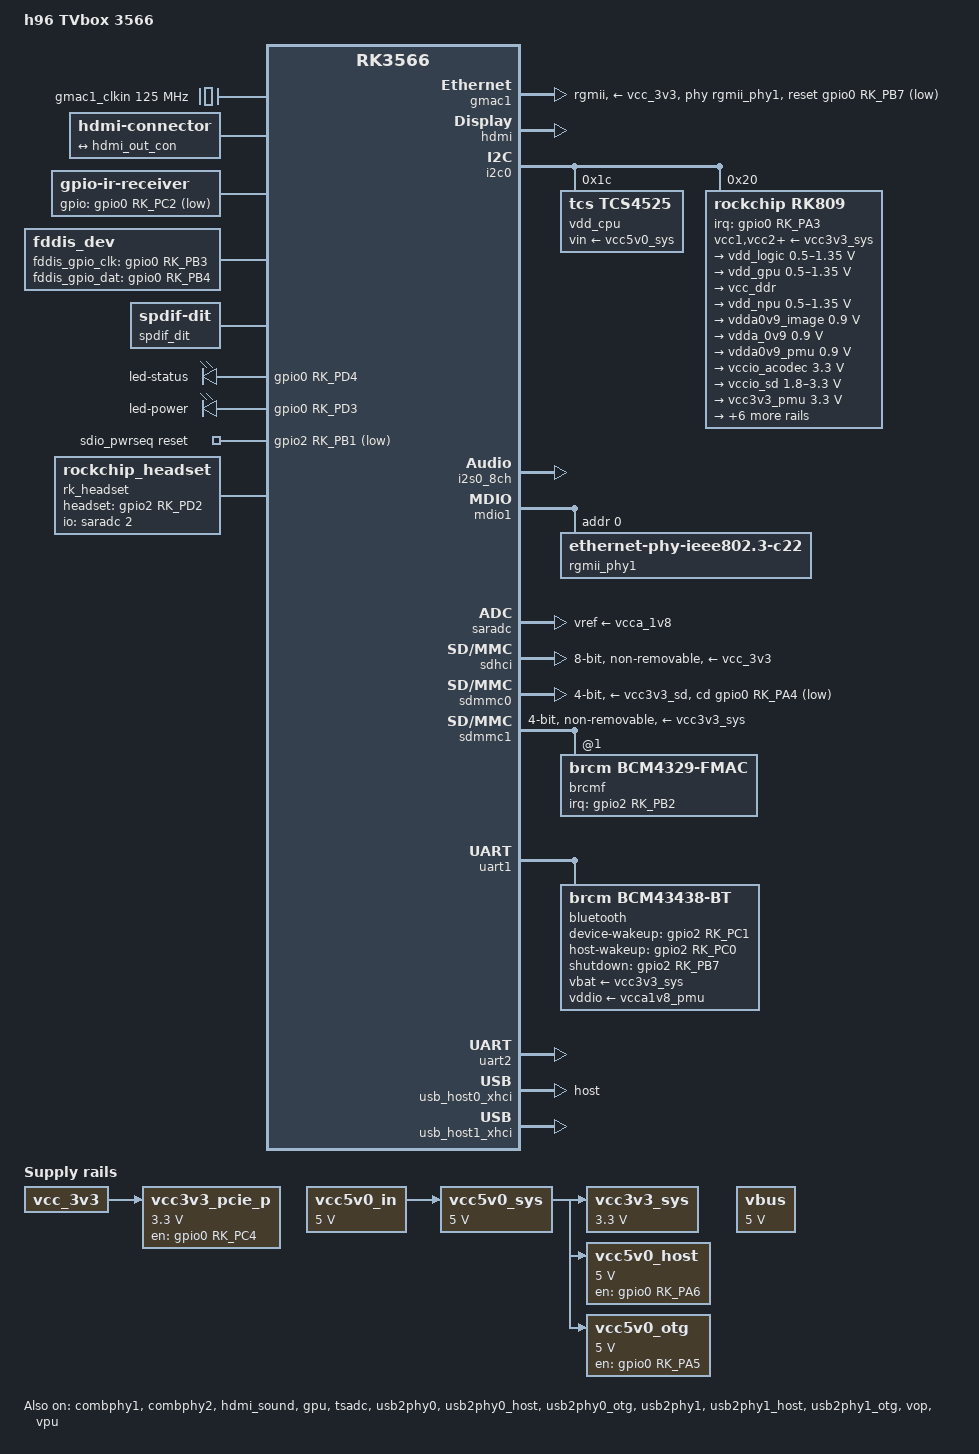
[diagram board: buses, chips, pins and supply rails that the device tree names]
// SPDX-License-Identifier: (GPL-2.0+ OR MIT)
/*
 * Copyright (c) 2024 hqnicolas <hqnicolas@msn.com>
 */

/dts-v1/;

#include <dt-bindings/gpio/gpio.h>
#include <dt-bindings/input/input.h>
#include <dt-bindings/pinctrl/rockchip.h>
#include <dt-bindings/soc/rockchip,vop2.h>
#include "rk3566.dtsi"

/ {
	model = "h96 TVbox 3566";
	compatible = "h96-TVbox,rk3566", "rockchip,rk3566";

	aliases {
		ethernet0 = &gmac1;
		mmc0 = &sdmmc0;
		mmc1 = &sdhci;
		mmc2 = &sdmmc1;
	};

	chosen: chosen {
		stdout-path = "serial2:1500000n8";
	};

	vcc5v0_in: vcc5v0_in {
		compatible = "regulator-fixed";
		regulator-name = "vcc5v0_in";
		regulator-always-on;
		regulator-boot-on;
		regulator-min-microvolt = <5000000>;
		regulator-max-microvolt = <5000000>;
	};

	gmac1_clkin: external-gmac1-clock {
		compatible = "fixed-clock";
		clock-frequency = <125000000>;
		clock-output-names = "gmac1_clkin";
		#clock-cells = <0>;
	};

	hdmi-con {
		compatible = "hdmi-connector";
		type = "a";

		port {
			hdmi_con_in: endpoint {
				remote-endpoint = <&hdmi_out_con>;
			};
		};
	};

	ir-receiver {
		compatible = "gpio-ir-receiver";
		gpios = <&gpio0 RK_PC2 GPIO_ACTIVE_LOW>;
		pinctrl-names = "default";
		pinctrl-0 = <&ir_receiver_pin>;
		linux,rc-map-name = "rc-h96-max-v56";
	};
	
	fddis_dev {
		compatible = "fddis_dev";
		fddis_gpio_clk = <&gpio0 RK_PB3 GPIO_ACTIVE_HIGH>;
		fddis_gpio_dat = <&gpio0 RK_PB4 GPIO_ACTIVE_HIGH>;
		pinctrl-0 = <&dis_ctl_clk &dis_ctl_dat>;
		status = "okay";
	};

	spdif_dit: spdif-dit {
		compatible = "linux,spdif-dit";
		#sound-dai-cells = <0>;
	};

	spdif_sound: spdif-sound {
		compatible = "simple-audio-card";
		simple-audio-card,name = "SPDIF";

		simple-audio-card,cpu {
			sound-dai = <&spdif>;
		};

		simple-audio-card,codec {
			sound-dai = <&spdif_dit>;
		};
	};

	vcc3v3_sys: vcc3v3-sys {
		compatible = "regulator-fixed";
		regulator-name = "vcc3v3_sys";
		regulator-always-on;
		regulator-boot-on;
		regulator-min-microvolt = <3300000>;
		regulator-max-microvolt = <3300000>;
		vin-supply = <&vcc5v0_sys>;
	};
	
	vcc5v0_sys: vcc5v0_sys {
		compatible = "regulator-fixed";
		regulator-name = "vcc5v0_sys";
		regulator-always-on;
		regulator-boot-on;
		regulator-min-microvolt = <5000000>;
		regulator-max-microvolt = <5000000>;
		vin-supply = <&vcc5v0_in>;
	};

	vcc5v0_host: vcc5v0-host-regulator {
		compatible = "regulator-fixed";
		regulator-name = "vcc5v0_host";
		enable-active-high;
		gpio = <&gpio0 RK_PA6 GPIO_ACTIVE_HIGH>;
		pinctrl-names = "default";
		pinctrl-0 = <&vcc5v0_host_en>;
		regulator-always-on;
		regulator-min-microvolt = <5000000>;
		regulator-max-microvolt = <5000000>;
		vin-supply = <&vcc5v0_sys>;
	};

	vcc5v0_otg: vcc5v0-otg-regulator {
		compatible = "regulator-fixed";
		regulator-name = "vcc5v0_otg";
		enable-active-high;
		gpio = <&gpio0 RK_PA5 GPIO_ACTIVE_HIGH>;
		pinctrl-names = "default";
		pinctrl-0 = <&vcc5v0_otg_en>;
		regulator-always-on;
		regulator-min-microvolt = <5000000>;
		regulator-max-microvolt = <5000000>;
		vin-supply = <&vcc5v0_sys>;
	};

	vcc3v3_pcie_p: vcc3v3-pcie-p-regulator {
		compatible = "regulator-fixed";
		enable-active-high;
		gpio = <&gpio0 RK_PC4 GPIO_ACTIVE_HIGH>;
		pinctrl-names = "default";
		pinctrl-0 = <&pcie_enable_h>;
		regulator-name = "vcc3v3_pcie_p";
		regulator-min-microvolt = <3300000>;
		regulator-max-microvolt = <3300000>;
		vin-supply = <&vcc_3v3>;
	};

	leds {
		compatible = "gpio-leds";

		led_status: led-status {
			label = "led-status";
			gpios = <&gpio0 RK_PD4 GPIO_ACTIVE_HIGH>;
			linux,default-trigger = "heartbeat";
			pinctrl-names = "default";
			pinctrl-0 = <&led_status_enable_h>;
		};

		led_power: led-power {
			label = "led-power";
			gpios = <&gpio0 RK_PD3 GPIO_ACTIVE_HIGH>;
			linux,default-trigger = "default-on";
			pinctrl-names = "default";
			pinctrl-0 = <&led_power_enable_h>;
		};	
	};

	vbus: vbus-regulator {
		compatible = "regulator-fixed";
		regulator-name = "vbus";
		regulator-always-on;
		regulator-boot-on;
		regulator-min-microvolt = <5000000>;
		regulator-max-microvolt = <5000000>;
	};

	sdio_pwrseq: sdio-pwrseq {
		status = "okay";
		compatible = "mmc-pwrseq-simple";
		clocks = <&rk809 1>;
		clock-names = "ext_clock";
		pinctrl-names = "default";
		pinctrl-0 = <&wifi_enable_h>;
		reset-gpios = <&gpio2 RK_PB1 GPIO_ACTIVE_LOW>;
		post-power-on-delay-ms = <100>;
	};

	rk809_sound: rk809-sound {
		status = "okay";
		compatible = "simple-audio-card";
		simple-audio-card,format = "i2s";
		simple-audio-card,name = "rockchip,rk809-codec";
		simple-audio-card,mclk-fs = <256>;

		simple-audio-card,cpu {
			sound-dai = <&i2s1_8ch>;
		};
		simple-audio-card,codec {
			sound-dai = <&rk809_codec>;
		};
	};

	rk_headset: rk-headset {
		compatible = "rockchip_headset";
		headset_gpio = <&gpio2 RK_PD2 GPIO_ACTIVE_HIGH>;
		pinctrl-names = "default";
		pinctrl-0 = <&hp_det>;
		io-channels = <&saradc 2>;    //HP_HOOK pin
	};
};

&combphy1 {
	status = "okay";
};

&combphy2 {
	status = "okay";
};

&cpu0 {
	cpu-supply = <&vdd_cpu>;
};

&cpu1 {
	cpu-supply = <&vdd_cpu>;
};

&cpu2 {
	cpu-supply = <&vdd_cpu>;
};

&cpu3 {
	cpu-supply = <&vdd_cpu>;
};

&gmac1 {
	assigned-clocks = <&cru SCLK_GMAC1_RX_TX>, <&cru SCLK_GMAC1_RGMII_SPEED>, <&cru SCLK_GMAC1>;
	assigned-clock-parents = <&cru SCLK_GMAC1_RGMII_SPEED>, <&cru SCLK_GMAC1>, <&gmac1_clkin>;
	clock_in_out = "input";
	phy-supply = <&vcc_3v3>;
	phy-mode = "rgmii";
	pinctrl-names = "default";
	pinctrl-0 = <&gmac1m0_miim
		     &gmac1m0_tx_bus2
		     &gmac1m0_rx_bus2
		     &gmac1m0_rgmii_clk
		     &gmac1m0_clkinout
		     &gmac1m0_rgmii_bus>;
	snps,reset-gpio = <&gpio0 RK_PB7 GPIO_ACTIVE_LOW>;
	snps,reset-active-low;
	/* Reset time is 20ms, 100ms for rtl8211f, also works well here */
	snps,reset-delays-us = <0 20000 100000>;
	tx_delay = <0x41>;
	rx_delay = <0x2e>;
	phy-handle = <&rgmii_phy1>;
	status = "okay";
};

&hdmi {
	assigned-clocks = <&cru CLK_HDMI_CEC>;
	assigned-clock-rates = <32768>;
	avdd-0v9-supply = <&vdda0v9_image>;
	avdd-1v8-supply = <&vcca1v8_image>;
	status = "okay";
};

&hdmi_in {
	hdmi_in_vp0: endpoint {
		remote-endpoint = <&vp0_out_hdmi>;
	};
};

&hdmi_out {
	hdmi_out_con: endpoint {
		remote-endpoint = <&hdmi_con_in>;
	};
};

&hdmi_sound {
	status = "okay";
};

&gpu {
	mali-supply = <&vdd_gpu>;
	status = "okay";
};

&i2c0 {
	status = "okay";

	vdd_cpu: regulator@1c {
		compatible = "tcs,tcs4525";
		reg = <0x1c>;
		fcs,suspend-voltage-selector = <1>;
		regulator-name = "vdd_cpu";
		regulator-min-microvolt = <800000>;
		regulator-max-microvolt = <1150000>;
		regulator-ramp-delay = <2300>;
		regulator-always-on;
		regulator-boot-on;
		vin-supply = <&vcc5v0_sys>;

		regulator-state-mem {
			regulator-off-in-suspend;
		};
	};

	rk809: pmic@20 {
		compatible = "rockchip,rk809";
		reg = <0x20>;
		interrupt-parent = <&gpio0>;
		interrupts = <RK_PA3 IRQ_TYPE_LEVEL_LOW>;
		#clock-cells = <1>;
		#sound-dai-cells = <0>;
		clock-output-names = "rk808-clkout1", "rk808-clkout2";
		pinctrl-names = "default";
		pinctrl-0 = <&pmic_int_l>;
		rockchip,system-power-controller;
		wakeup-source;

		vcc1-supply = <&vcc3v3_sys>;
		vcc2-supply = <&vcc3v3_sys>;
		vcc3-supply = <&vcc3v3_sys>;
		vcc4-supply = <&vcc3v3_sys>;
		vcc5-supply = <&vcc3v3_sys>;
		vcc6-supply = <&vcc3v3_sys>;
		vcc7-supply = <&vcc3v3_sys>;
		vcc8-supply = <&vcc3v3_sys>;
		vcc9-supply = <&vcc3v3_sys>;

		regulators {
			vdd_logic: DCDC_REG1 {
				regulator-name = "vdd_logic";
				regulator-always-on;
				regulator-boot-on;
				regulator-min-microvolt = <500000>;
				regulator-max-microvolt = <1350000>;
				regulator-init-microvolt = <900000>;
				regulator-ramp-delay = <6001>;
				regulator-initial-mode = <0x2>;
				regulator-state-mem {
					regulator-off-in-suspend;
				};
			};

			vdd_gpu: DCDC_REG2 {
				regulator-name = "vdd_gpu";
				regulator-always-on;
				regulator-boot-on;
				regulator-min-microvolt = <500000>;
				regulator-max-microvolt = <1350000>;
				regulator-init-microvolt = <900000>;
				regulator-ramp-delay = <6001>;
				regulator-initial-mode = <0x2>;
					regulator-state-mem {
					regulator-off-in-suspend;
				};
			};

			vcc_ddr: DCDC_REG3 {
				regulator-always-on;
				regulator-boot-on;
				regulator-initial-mode = <0x2>;
				regulator-name = "vcc_ddr";
				regulator-state-mem {
					regulator-on-in-suspend;
				};
			};

			vdd_npu: DCDC_REG4 {
				regulator-always-on;
				regulator-boot-on;
				regulator-min-microvolt = <500000>;
				regulator-max-microvolt = <1350000>;
				regulator-init-microvolt = <900000>;
				regulator-initial-mode = <0x2>;
				regulator-name = "vdd_npu";
				regulator-state-mem {
					regulator-off-in-suspend;
				};
			};

			vdda0v9_image: LDO_REG1 {
				regulator-always-on;
				regulator-boot-on;
				regulator-min-microvolt = <900000>;
				regulator-max-microvolt = <900000>;
				regulator-name = "vdda0v9_image";
				regulator-state-mem {
					regulator-off-in-suspend;
				};
			};

			vdda_0v9: LDO_REG2 {
				regulator-always-on;
				regulator-boot-on;
				regulator-min-microvolt = <900000>;
				regulator-max-microvolt = <900000>;
				regulator-name = "vdda_0v9";
				regulator-state-mem {
					regulator-off-in-suspend;
				};
			};

			vdda0v9_pmu: LDO_REG3 {
				regulator-always-on;
				regulator-boot-on;
				regulator-min-microvolt = <900000>;
				regulator-max-microvolt = <900000>;
				regulator-name = "vdda0v9_pmu";
				regulator-state-mem {
					regulator-on-in-suspend;
					regulator-suspend-microvolt = <900000>;
				};
			};

			vccio_acodec: LDO_REG4 {
				regulator-always-on;
				regulator-boot-on;
				regulator-min-microvolt = <3300000>;
				regulator-max-microvolt = <3300000>;
				regulator-name = "vccio_acodec";
				regulator-state-mem {
					regulator-off-in-suspend;
				};
			};

			vccio_sd: LDO_REG5 {
				regulator-name = "vccio_sd";
				regulator-always-on;
				regulator-boot-on;
				regulator-min-microvolt = <1800000>;
				regulator-max-microvolt = <3300000>;

				regulator-state-mem {
					regulator-off-in-suspend;
				};
			};

			vcc3v3_pmu: LDO_REG6 {
				regulator-name = "vcc3v3_pmu";
				regulator-always-on;
				regulator-boot-on;
				regulator-min-microvolt = <3300000>;
				regulator-max-microvolt = <3300000>;

				regulator-state-mem {
					regulator-on-in-suspend;
					regulator-suspend-microvolt = <3300000>;
				};
			};

			vcca_1v8: LDO_REG7 {
				regulator-name = "vcca_1v8";
				regulator-always-on;
				regulator-boot-on;
				regulator-min-microvolt = <1800000>;
				regulator-max-microvolt = <1800000>;

				regulator-state-mem {
					regulator-off-in-suspend;
				};
			};

			vcca1v8_pmu: LDO_REG8 {
				regulator-name = "vcca1v8_pmu";
				regulator-always-on;
				regulator-boot-on;
				regulator-min-microvolt = <1800000>;
				regulator-max-microvolt = <1800000>;

				regulator-state-mem {
					regulator-on-in-suspend;
					regulator-suspend-microvolt = <1800000>;
				};
			};

			vcca1v8_image: LDO_REG9 {
				regulator-name = "vcca1v8_image";
				regulator-min-microvolt = <1800000>;
				regulator-max-microvolt = <1800000>;

				regulator-state-mem {
					regulator-off-in-suspend;
				};
			};

			vcc_1v8: DCDC_REG5 {
				regulator-always-on;
				regulator-boot-on;
				regulator-min-microvolt = <1800000>;
				regulator-max-microvolt = <1800000>;
				regulator-name = "vcc_1v8";
				regulator-state-mem {
					regulator-off-in-suspend;
				};
			};

			vcc_3v3: SWITCH_REG1 {
				regulator-name = "vcc_3v3";
				regulator-always-on;
				regulator-boot-on;

				regulator-state-mem {
					regulator-off-in-suspend;
				};
			};

			vcc3v3_sd: SWITCH_REG2 {
				regulator-name = "vcc3v3_sd";
				regulator-always-on;
				regulator-boot-on;

				regulator-state-mem {
					regulator-off-in-suspend;
				};
			};
		};

		rk809_codec: codec {
			mic-in-differential;
		};
	};
};

&i2s0_8ch {
	status = "okay";
};

&i2s1_8ch {
	pinctrl-names = "default";
	pinctrl-0 = <&i2s1m0_sclktx
				 &i2s1m0_lrcktx
				 &i2s1m0_sdi0
				 &i2s1m0_sdo0>;
	rockchip,trcm-sync-tx-only;
};

&mdio1 {
	rgmii_phy1: ethernet-phy@0 {
		compatible = "ethernet-phy-ieee802.3-c22";
		reg = <0>;
		status = "okay";
	};
};

&pcie2x1 {
	pinctrl-names = "default";
	pinctrl-0 = <&pcie_reset_h>;
	reset-gpios = <&gpio1 RK_PB2 GPIO_ACTIVE_HIGH>;
	vpcie3v3-supply = <&vcc3v3_pcie_p>;
	status = "disabled";
};

&pinctrl {
	sdio-pwrseq {
		wifi_enable_h: wifi-enable-h {
			rockchip,pins = <2 RK_PB1 RK_FUNC_GPIO &pcfg_pull_none>;
		};
	};

	wireless-wlan {
		wifi_host_wake_irq: wifi-host-wake-irq {
			rockchip,pins = <2 RK_PB2 RK_FUNC_GPIO &pcfg_pull_none>;
		};
	};

	bt {
		bt_enable_h: bt-enable-h {
			rockchip,pins = <2 RK_PB7 RK_FUNC_GPIO &pcfg_pull_none>;
		};

		bt_host_wake_l: bt-host-wake-l {
			rockchip,pins = <2 RK_PC0 RK_FUNC_GPIO &pcfg_pull_none>;
		};

		bt_wake_l: bt-wake-l {
			rockchip,pins = <2 RK_PC1 RK_FUNC_GPIO &pcfg_pull_none>;
		};
	};

	pmic {
		pmic_int_l: pmic-int-l {
			rockchip,pins = <0 RK_PA3 RK_FUNC_GPIO &pcfg_pull_up>;
		};
	};
	
	usb {
		vcc5v0_host_en: vcc5v0-host-en {
			rockchip,pins = <0 RK_PA6 RK_FUNC_GPIO &pcfg_pull_none>;
       };

		vcc5v0_otg_en: vcc5v0-otg-en {
			rockchip,pins = <0 RK_PA5 RK_FUNC_GPIO &pcfg_pull_none>;
		};
	};

	pcie {
		pcie_enable_h: pcie-enable-h {
			rockchip,pins = <0 RK_PC4 RK_FUNC_GPIO &pcfg_pull_none>;
		};
		
		pcie_reset_h: pcie-reset-h {
			rockchip,pins = <1 RK_PB2 RK_FUNC_GPIO &pcfg_pull_none>;
		};
	};

	ir-receiver {
		ir_receiver_pin: ir-receiver-pin {
			rockchip,pins = <0 RK_PC2 RK_FUNC_GPIO &pcfg_pull_none>;
		};
	};

	leds {
		led_status_enable_h: led-status-enable-h {
			rockchip,pins = <0 RK_PD4 RK_FUNC_GPIO &pcfg_pull_none>;
		};

		led_power_enable_h: led_power_enable_h {
			rockchip,pins = <0 RK_PD3 RK_FUNC_GPIO &pcfg_pull_none>;
		};
	};

	headphone {
		hp_det: hp-det {
			rockchip,pins = <2 RK_PD2 RK_FUNC_GPIO &pcfg_pull_up>;
		};
	};
	
	fddis_ctr {
		dis_ctl_clk: dis-ctl-clk {
			rockchip,pins = <0 RK_PB3 RK_FUNC_GPIO &pcfg_pull_none>;
		};
		
		dis_ctl_dat: dis-ctl-dat {
			rockchip,pins = <0 RK_PB4 RK_FUNC_GPIO &pcfg_pull_none>;
		};
	};
};

&pmu_io_domains {
	pmuio1-supply = <&vcc3v3_pmu>;
	pmuio2-supply = <&vcc3v3_pmu>;
	vccio1-supply = <&vccio_acodec>;
	vccio2-supply = <&vcc_1v8>;
	vccio3-supply = <&vccio_sd>;
	vccio4-supply = <&vcc_1v8>;
	vccio5-supply = <&vcc_3v3>;
	vccio6-supply = <&vcc_1v8>;
	vccio7-supply = <&vcc_3v3>;
	status = "okay";
};

&saradc {
	vref-supply = <&vcca_1v8>;
	status = "okay";
};

&sata2 {
	status = "disabled";
};

&sdhci {
	bus-width = <8>;
	mmc-hs200-1_8v;
	non-removable;
	vmmc-supply = <&vcc_3v3>;
	vqmmc-supply = <&vcc_1v8>;
	status = "okay";
};

&sdmmc0 {
	bus-width = <4>;
	cap-sd-highspeed;
	cd-gpios = <&gpio0 RK_PA4 GPIO_ACTIVE_LOW>;
	disable-wp;
	pinctrl-names = "default";
	pinctrl-0 = <&sdmmc0_bus4 &sdmmc0_clk &sdmmc0_cmd &sdmmc0_det>;
	sd-uhs-sdr104;
	vmmc-supply = <&vcc3v3_sd>;
	vqmmc-supply = <&vccio_sd>;
	status = "okay";
};

&sdmmc1 {
	#address-cells = <1>;
	#size-cells = <0>;
	bus-width = <4>;
	cap-sd-highspeed;
	cap-sdio-irq;
	disable-wp;
	keep-power-in-suspend;
	mmc-pwrseq = <&sdio_pwrseq>;
	non-removable;
	pinctrl-names = "default";
	pinctrl-0 = <&sdmmc1_bus4 &sdmmc1_cmd &sdmmc1_clk>;
	sd-uhs-sdr50;
	supports-sdio;
	status = "okay";
	vmmc-supply = <&vcc3v3_sys>;
	vqmmc-supply = <&vcca1v8_pmu>;

	brcmf: wifi@1 {
		compatible = "brcm,bcm4329-fmac";
		reg = <1>;
		interrupt-parent = <&gpio2>;
		interrupts = <RK_PB2 IRQ_TYPE_LEVEL_HIGH>;
		interrupt-names = "host-wake";
		pinctrl-names = "default";
		pinctrl-0 = <&wifi_host_wake_irq>;
	};
};

&tsadc {
	status = "okay";
};

&uart1 {
	pinctrl-names = "default";
	dma-names = "tx", "rx";
	pinctrl-0 = <&uart1m0_xfer &uart1m0_ctsn &uart1m0_rtsn>;
	status = "okay";
	uart-has-rtscts;

	bluetooth {
		compatible = "brcm,bcm43438-bt";
		clocks = <&rk809 1>;
		clock-names = "lpo";
		device-wakeup-gpios = <&gpio2 RK_PC1 GPIO_ACTIVE_HIGH>;
		host-wakeup-gpios = <&gpio2 RK_PC0 GPIO_ACTIVE_HIGH>;
		shutdown-gpios = <&gpio2 RK_PB7 GPIO_ACTIVE_HIGH>;
		max-speed = <3000000>;
		pinctrl-names = "default";
		pinctrl-0 = <&bt_host_wake_l &bt_wake_l &bt_enable_h>;
		vbat-supply = <&vcc3v3_sys>;
		vddio-supply = <&vcca1v8_pmu>;
	};
};

&uart2 {
	status = "okay";
};

&usb_host0_xhci {
	dr_mode = "host";
	status = "okay";
};

&usb2phy0 {
	status = "okay";
};

&usb2phy0_host {
	status = "okay";
};

&usb2phy0_otg {
	status = "okay";
};

&usb_host1_xhci {
	status = "okay";
};

&usb2phy1 {
	status = "okay";
};

&usb2phy1_host {
	status = "okay";
};

&usb2phy1_otg {
	status = "okay";
};

&vop {
	assigned-clocks = <&cru DCLK_VOP0>, <&cru DCLK_VOP1>;
	assigned-clock-parents = <&pmucru PLL_HPLL>, <&cru PLL_VPLL>;
	status = "okay";
};

&vpu {
	status = "okay";
};

&vop_mmu {
	status = "okay";
};

&vp0 {
	vp0_out_hdmi: endpoint@ROCKCHIP_VOP2_EP_HDMI0 {
		reg = <ROCKCHIP_VOP2_EP_HDMI0>;
		remote-endpoint = <&hdmi_in_vp0>;
	};
};
